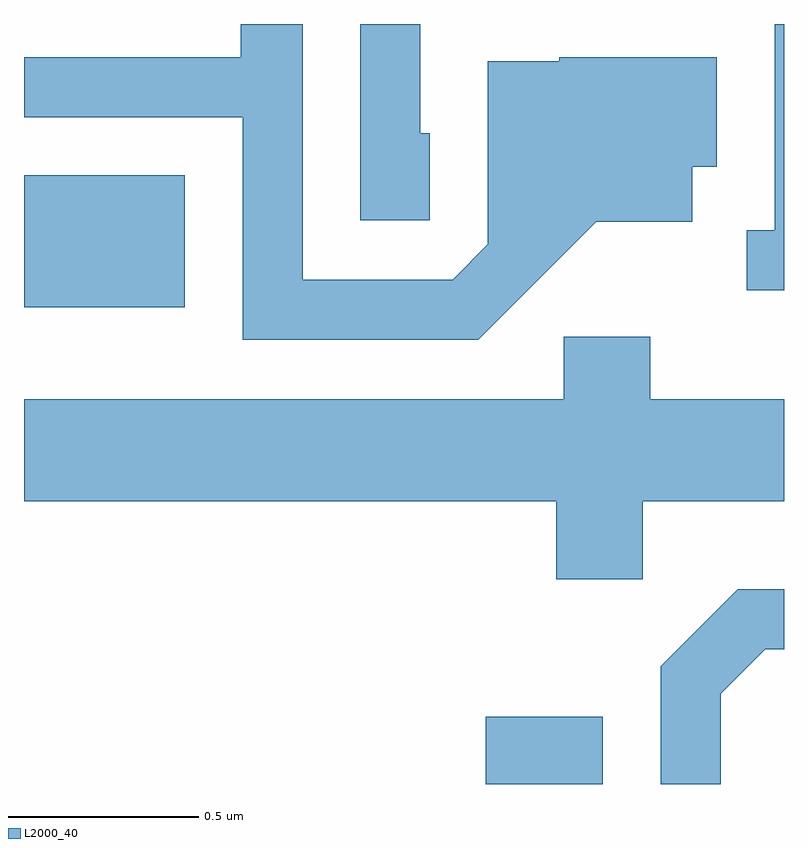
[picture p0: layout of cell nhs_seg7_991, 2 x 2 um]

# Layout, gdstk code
import gdstk
lib = gdstk.Library(unit=1e-6, precision=1e-09)
def R(c, l, rs):  # rectangles x0, y0, x1, y1
    for r in rs: c.add(gdstk.rectangle(r[:2], r[2:], *l))
def P(c, l, *ps):  # polygons
    for p in ps: c.add(gdstk.Polygon(p, *l))
L2000_40 = (2000, 40)

nhs_seg7_991 = lib.new_cell('nhs_seg7_991')
R(nhs_seg7_991, L2000_40, [(193.826,1700.252,194.134,1700.429), (192.611,1701.506,193.034,1701.854)])
P(nhs_seg7_991, L2000_40, [(194.611,1702.252),(194.586,1702.252),(194.586,1701.709),(194.513,1701.709),(194.513,1701.551),(194.611,1701.551)],
  [(193.679,1701.964),(193.654,1701.964),(193.654,1702.252),(193.496,1702.252),(193.496,1701.736),(193.679,1701.736)],
  [(194.117,1701.731),(194.369,1701.731),(194.369,1701.876),(194.434,1701.876),(194.434,1702.164),(194.02,1702.164),(194.02,1702.154),(193.831,1702.154),(193.831,1701.672),(193.739,1701.579),(193.344,1701.579),(193.344,1702.252),(193.181,1702.252),(193.181,1702.164),(192.611,1702.164),(192.611,1702.006),(193.186,1702.006),(193.186,1701.421),(193.807,1701.421)],
  [(194.239,1700.996),(194.611,1700.996),(194.611,1701.264),(194.259,1701.264),(194.259,1701.429),(194.031,1701.429),(194.031,1701.264),(192.611,1701.264),(192.611,1700.996),(194.011,1700.996),(194.011,1700.791),(194.239,1700.791)],
  [(194.444,1700.489),(194.562,1700.606),(194.611,1700.606),(194.611,1700.764),(194.489,1700.764),(194.286,1700.562),(194.286,1700.252),(194.444,1700.252)])

lib.write_gds('nhs_seg7_991.gds')
